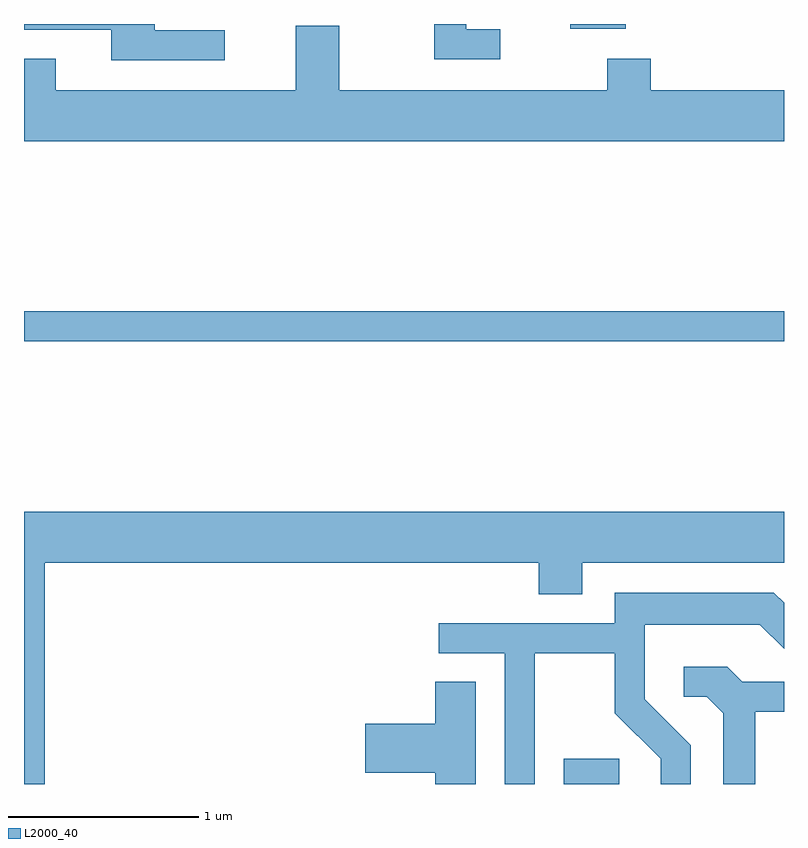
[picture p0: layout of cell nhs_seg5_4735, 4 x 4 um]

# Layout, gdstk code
import gdstk
lib = gdstk.Library(unit=1e-6, precision=1e-09)
def R(c, l, rs):  # rectangles x0, y0, x1, y1
    for r in rs: c.add(gdstk.rectangle(r[:2], r[2:], *l))
def P(c, l, *ps):  # polygons
    for p in ps: c.add(gdstk.Polygon(p, *l))
L2000_40 = (2000, 40)

nhs_seg5_4735 = lib.new_cell('nhs_seg5_4735')
R(nhs_seg5_4735, L2000_40, [(328.451,1460.072,328.744,1460.204), (325.611,1462.401,329.611,1462.559), (328.486,1464.046,328.779,1464.072)])
P(nhs_seg5_4735, L2000_40, [(326.668,1464.039),(326.299,1464.039),(326.299,1464.072),(325.611,1464.072),(325.611,1464.041),(326.071,1464.041),(326.071,1463.881),(326.668,1463.881)],
  [(328.118,1464.044),(327.939,1464.044),(327.939,1464.072),(327.771,1464.072),(327.771,1463.886),(328.118,1463.886)],
  [(329.611,1463.724),(328.909,1463.724),(328.909,1463.889),(328.681,1463.889),(328.681,1463.724),(327.269,1463.724),(327.269,1464.064),(327.041,1464.064),(327.041,1463.724),(325.779,1463.724),(325.779,1463.889),(325.611,1463.889),(325.611,1463.456),(329.611,1463.456)],
  [(325.719,1461.236),(328.321,1461.236),(328.321,1461.071),(328.549,1461.071),(328.549,1461.236),(329.611,1461.236),(329.611,1461.504),(325.611,1461.504),(325.611,1460.072),(325.719,1460.072)],
  [(328.299,1460.761),(328.721,1460.761),(328.721,1460.444),(328.961,1460.204),(328.961,1460.072),(329.119,1460.072),(329.119,1460.277),(328.879,1460.517),(328.879,1460.911),(329.484,1460.911),(329.611,1460.784),(329.611,1461.025),(329.557,1461.079),(328.721,1461.079),(328.721,1460.919),(327.793,1460.919),(327.793,1460.761),(328.141,1460.761),(328.141,1460.072),(328.299,1460.072)],
  [(329.459,1460.451),(329.611,1460.451),(329.611,1460.609),(329.392,1460.609),(329.312,1460.689),(329.083,1460.689),(329.083,1460.531),(329.204,1460.531),(329.291,1460.444),(329.291,1460.072),(329.459,1460.072)],
  [(327.989,1460.609),(327.776,1460.609),(327.776,1460.389),(327.406,1460.389),(327.406,1460.131),(327.776,1460.131),(327.776,1460.072),(327.989,1460.072)])

lib.write_gds('nhs_seg5_4735.gds')
